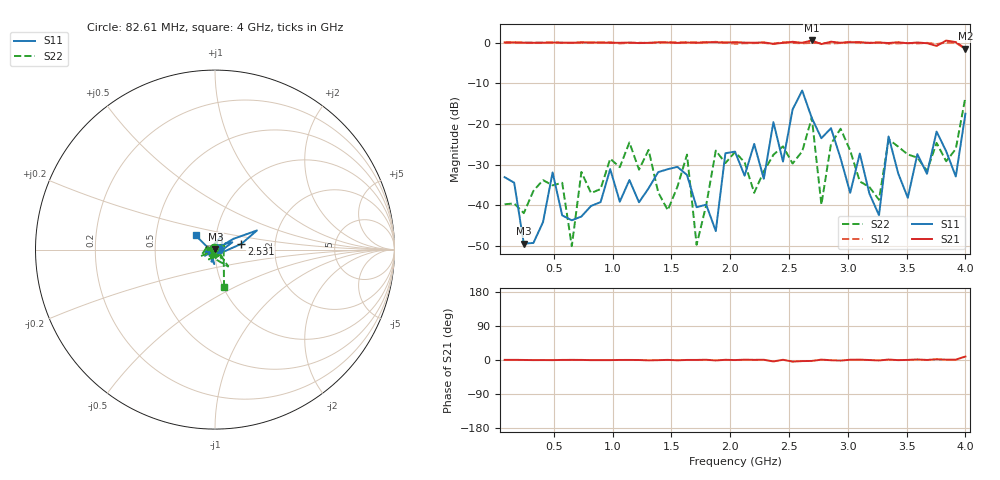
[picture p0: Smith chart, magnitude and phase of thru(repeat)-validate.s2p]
!Created with skrf (http://scikit-rf.org).
# GHz S DB R 50.0
!freq dBS11 angS11 dBS21 angS21 dBS12 angS12 dBS22 angS22
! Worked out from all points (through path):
!   49 points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, 82.61 MHz to 4 GHz, reference 50 ohm
!   highest |S21| = 0.53 dB at 2.694 GHz (marker M1); lowest = -1.5 dB at 4 GHz (marker M2)
!   lowest |S11| = -49.5 dB at 245.8 MHz (marker M3), VSWR 1.01, Z = 50.2 + j0.273 ohm
!   |S11| at or under -10 dB: start of sweep to end of sweep
!   |S22| runs from -50.1 to -13.4 dB; largest |S21 - S12| = 0.11
!   S11 on the Smith chart (normalised r, x): 82.61 MHz: 1.04, +0.01; 2.531 GHz: 1.34, +0.09; 4 GHz: 0.80, +0.13
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0.08261224  -33.10 6.3  0.02 0.4  0.05 0.2  -39.77 108.6
0.2458367  -49.45 53.8  -0.01 0.1  -0.03 0.1  -41.95 136.0
0.4906735  -31.94 144.4  0.01 -0.3  -0.00 0.1  -35.13 -49.2
0.653898  -43.71 86.2  -0.05 0.3  -0.03 -0.6  -50.08 10.5
0.7355102  -42.78 0.8  0.06 0.2  0.02 0.1  -31.83 47.2
1.143571  -33.80 -82.1  0.01 0.1  -0.06 -0.3  -24.55 -56.5
1.388408  -31.86 74.7  0.08 -0.4  -0.06 -0.5  -36.86 49.9
1.633245  -32.56 18.3  0.01 0.2  0.08 0.6  -27.56 -177.4
1.714857  -40.49 -95.4  -0.05 0.2  0.05 0.4  -49.75 -53.9
1.878082  -46.36 -29.2  0.08 -1.2  0.19 -1.1  -26.56 83.2
2.041306  -26.81 73.8  0.11 -0.2  -0.27 0.0  -26.93 -77.0
2.286143  -33.51 91.3  0.06 0.6  -0.09 -0.8  -31.68 -92.0
2.53098  -16.45 12.3  0.20 -4.3  -0.09 -0.2  -29.76 3.7
2.694204  -18.55 30.3  0.53 -2.5  -0.09 1.8  -18.47 -52.1
2.775816  -23.52 -148.5  -0.37 1.0  -0.14 -0.4  -39.88 44.7
2.939041  -28.47 4.9  -0.03 -1.5  -0.11 2.6  -21.20 -155.3
3.26549  -42.46 4.1  0.01 -1.2  0.04 -0.8  -38.68 50.9
3.347102  -23.10 -106.2  -0.10 1.1  -0.24 4.7  -23.80 -121.9
3.428714  -32.17 82.7  0.09 -0.3  -0.19 -1.4  -25.59 -5.6
3.755163  -21.88 -93.1  -0.82 2.1  -0.37 3.2  -24.67 159.8
3.918388  -32.94 -162.0  0.12 0.9  -0.03 -0.5  -26.16 12.7
4  -17.49 143.8  -1.47 9.1  -1.58 1.5  -13.44 -76.3
